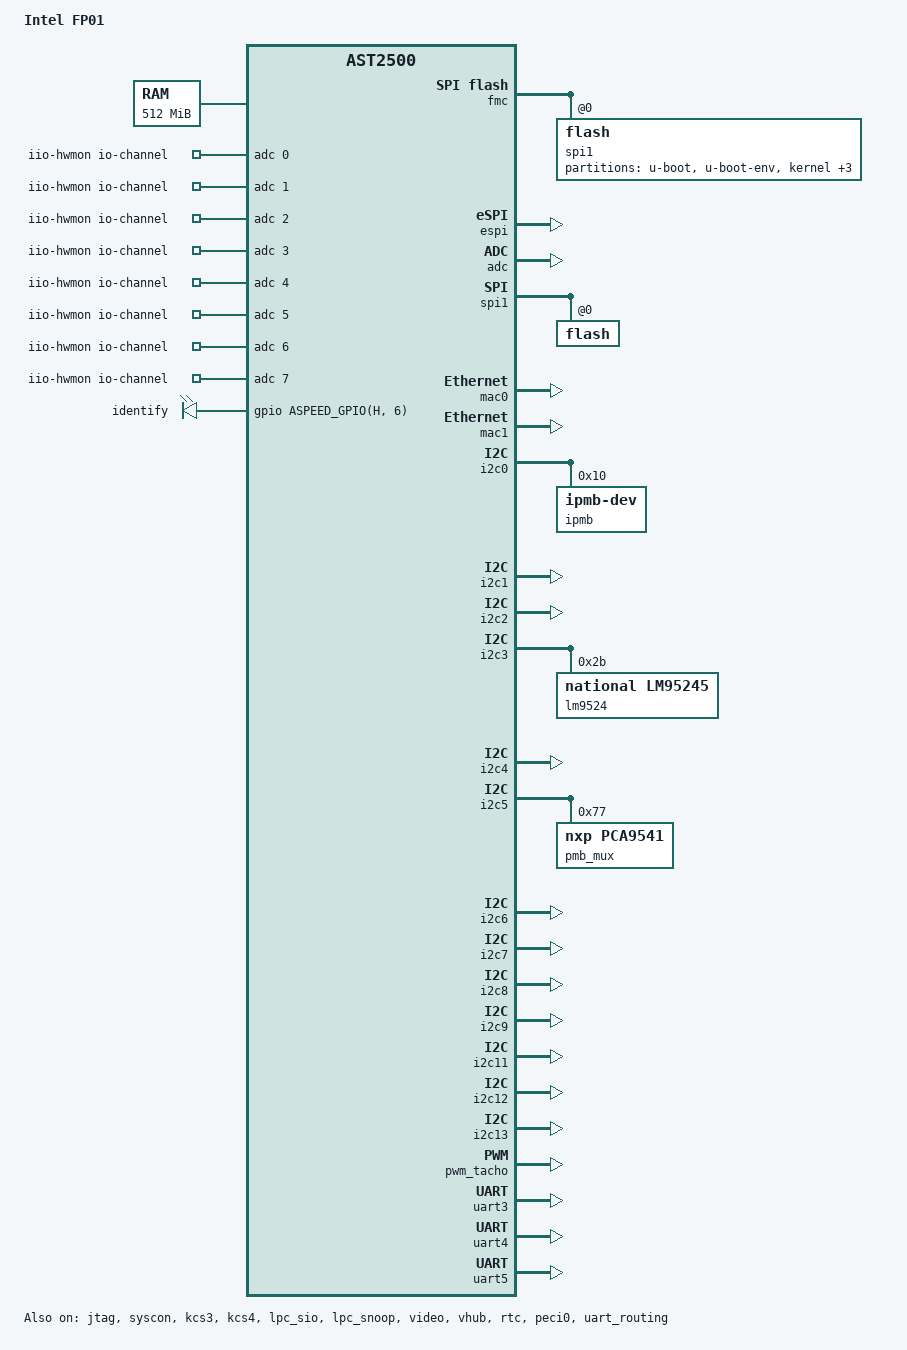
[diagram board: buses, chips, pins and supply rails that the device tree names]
/dts-v1/;

#include "aspeed-g5.dtsi"
#include <dt-bindings/gpio/aspeed-gpio.h>
#include <dt-bindings/i2c/i2c.h>

/ {
	model = "Intel FP01";
	compatible = "intel,whitly-bmc", "aspeed,ast2500";

	aliases {
		serial4 = &uart5;

//		i2c16 = &i2c_nvme0;
//		i2c17 = &i2c_nvme1;
//		i2c18 = &i2c_nvme2;
//		i2c19 = &i2c_nvme3;
//		i2c20 = &i2c_nvme4;
//		i2c21 = &i2c_nvme5;
//		i2c22 = &i2c_12v;
//		i2c23 = &i2c_48v;
//
//		i2c28 = &i2c_m2_0;
//		i2c29 = &i2c_m2_1;
//
//		i2c14 = &i2c_ina219;   //0x40
//		i2c30 = &i2c_gen_z_right;
//		i2c31 = &i2c_gen_z_left;
//		i2c31 = &i2c_cpld;
//
//		i2c41 = &i2c_sas1;
//		i2c42 = &i2c_sas2;
//		i2c43 = &i2c_sas3;
//		i2c44 = &i2c_sas4;
//
//		i2c50 = &i2c_m2_lm5066;
//		i2c51 = &i2c_channel5;
//		i2c52 = &i2c_channel6;
//		i2c53 = &i2c_channel7;
//		i2c60 = &i2c_sw73_ch0;
//		i2c54 = &i2c_sw73_ch1;
//		i2c55 = &i2c_sw73_ch2;
//		i2c56 = &i2c_sw73_ch3;
//		i2c57 = &i2c_sw_ch0_gpu0;
//		i2c58 = &i2c_sw_ch1_gpu1;
//		i2c59 = &i2c_sw_ch2_gpu2;
//
//		i2c61 = &i2c_sw70_ch1;
//		i2c62 = &i2c_sw70_ch2;
//		i2c63 = &i2c_sw70_ch3;
    };
	chosen {
		stdout-path = &uart5;
		bootargs = "console=ttyS4,115200n8 root=/dev/ram rw earlyrintk";
	};

	memory@80000000 {
		reg = <0x80000000 0x20000000>;
	};

	reserved-memory {
		#address-cells = <1>;
		#size-cells = <1>;
		ranges;

		vga_memory: framebuffer@7f000000 {
			no-map;
			reg = <0x7f000000 0x01000000>;
		};

		video_engine_memory: jpegbuffer {
			size = <0x02000000>;
			alignment = <0x01000000>;
			compatible = "shared-dma-pool";
			reusable;
		};
		ramoops@9eff0000{
			compatible = "ramoops";
			reg = <0x9eff0000 0x10000>;
			record-size = <0x2000>;
			console-size = <0x2000>;
		};
	};

	vga-shared-memory {
		compatible = "aspeed,ast2500-vga-sharedmem";
		reg = <0x9ff00000 0x100000>;
	};

	iio-hwmon {
			compatible = "iio-hwmon";
			io-channels = <&adc 0>, <&adc 1>, <&adc 2>, <&adc 3>,
				<&adc 4>, <&adc 5>, <&adc 6>, <&adc 7>,
				<&adc 8>, <&adc 9>, <&adc 10>, <&adc 11>,
				<&adc 12>, <&adc 13>, <&adc 14>, <&adc 15>;
	};

	leds {
		compatible = "gpio-leds";

		//heartbeat {
		//	label = "heartbeat";
		//	gpios = <&gpio ASPEED_GPIO(G, 0) GPIO_ACTIVE_HIGH>;
		//	linux,default-trigger = "timer";
		//	active-delay = <100>;
		//	inactive-delay = <100>;
		//};

		identify {
			default-state = "on";
			gpios = <&gpio ASPEED_GPIO(H, 6) GPIO_ACTIVE_HIGH>;
		};

		//status_amber {
		//	default-state = "off";
		//	gpios = <&gpio ASPEED_GPIO(G, 3) GPIO_ACTIVE_HIGH>;
		//};

		//status_green {
		//	default-state = "keep";
		//	gpios = <&gpio ASPEED_GPIO(G, 2) GPIO_ACTIVE_HIGH>;
		//};
	};
};

&fmc {
	status = "okay";
	flash@0 {
		status = "okay";
		m25p,fast-read;
		label = "spi1";
		partitions {
			compatible = "fixed-partitions";
			#address-cells = <1>;
			#size-cells = <1>;

			u-boot@0 {
				reg = <0x0 0x60000>; // 384KB
				label = "u-boot";
			};

			u-boot-env@60000 {
				reg = <0x60000 0x20000>; // 128KB
				label = "u-boot-env";
			};

			kernel@80000 {
				reg = <0x80000 0x440000>; // 4352KB
				label = "kernel";
			};

			rofs@4c0000 {
				reg = <0x4c0000 0x2000000>; // 32MB
				label = "rofs";
			};

			rwfs@24c0000 {
				reg = <0x24c0000 0x1400000>; // 20MB
				label = "rwfs";
			};

			persistent@38C0000 {
				reg = <0x38C0000 0x640000>; // 6.4MB must end at 0x3f00000
				label = "persistent";
			};
		};
	};
};

/*&fmc {
	status = "okay";
	flash@0 {
		status = "okay";
		m25p,fast-read;
		label = "bmc";
		spi-max-frequency = <50000000>;
#include "openbmc-flash-layout.dtsi"
	};
};*/

&espi {
	status = "okay";
};

&jtag {
	status = "okay";
};

&syscon {
	/* uart-clock-high-speed; */
	status = "okay";
};

&adc {
	status = "okay";
	pinctrl-names = "default";
	pinctrl-0 = <&pinctrl_adc0_default &pinctrl_adc1_default
	 &pinctrl_adc2_default &pinctrl_adc3_default &pinctrl_adc4_default
	 &pinctrl_adc5_default &pinctrl_adc6_default &pinctrl_adc7_default
	 &pinctrl_adc8_default &pinctrl_adc9_default &pinctrl_adc10_default
	 &pinctrl_adc11_default &pinctrl_adc12_default &pinctrl_adc13_default
	 &pinctrl_adc15_default>;
};



//	gpio-line-names =
//	/*A0-A7*/	"A0","A1","FP_SW_1","BMC_READY","A4","A5","A6","A7",
//	/*B0-B7*/	"B0","B1","B2","B3","TCK_MUX_SEL","SMI","B6","POST_COMPLETE",
//	/*C0-C7*/	"BOARD_SKU_ID0","BOARD_SKU_ID1","BOARD_SKU_ID2","BOARD_SKU_ID3","C4","C5","C6","C7",
//	/*D0-D7*/	"POWER_BUTTON","POWER_OUT","RESET_BUTTON","RESET_OUT","NMI_BUTTON","NMI_OUT","D6","D7",
//	/*E0-E7*/	"BMC_RST_I2C_DEV_1","BMC_HOST_SMBUS_SEL_N","E2","E3","CPU1_MEM_THERM_EVENT","CPU2_MEM_THERM_EVENT","E6","E7",
//	/*F0-F7*/	"SIO_POWER_GOOD","DEBUG_EN_N","PWR_DEBUG_N","P3VBAT_BRIDGE_EN","CPU_ERR0","CPU_ERR1","PLTRST_N","PRDY_N",
//	/*G0-G7*/	"G0","G1","G2","G3","G4","FM_CLR_CMOS","G6","G7",
//	/*H0-H7*/	"PS_PWROK","PCH_BMC_THERMTRIP","H2","H3","CPU_CATERR","CPU_ERR2","H6","H7",
//	/*I0-I7*/   "JTAG_TMS", "JTAG_TCK", "JTAG_TDO", "JTAG_TDI", "I4", "I5", "I6", "I7",
//	/*J0-J7*/   "J0", "J1", "J2", "J3", "J4", "J5", "J6", "J7",
//	/*K0-K7*/   "K0", "K1", "K2", "K3", "K4", "K5", "K6", "K7",
//	/*L0-L7*/   "L0", "L1", "L2", "L3", "L4", "L5", "L6", "L7",
//	/*M0-M7*/	"RSMRST_N","SYSPWROK","M2","M3","M4","BOARD_SKU_ID5","M6","M7", /* Fake signals, NC port */
//	/*N0-N7*/   "N0", "N1", "N2", "N3", "N4", "N5", "N6", "N7",
//	/*O0-O7*/   "O0", "O1", "O2", "O3", "O4", "O5", "O6", "O7",
//	/*P0-P7*/   "P0", "CPU1_THERMTRIP", "P2", "P3", "CPU1_FIVR_FAULT", "CPU1_VRHOT", "CPU1_MEM_ABCD_VRHOT", "CPU1_MEM_EFGH_VRHOT",
//	/*Q0-Q7*/	"Q0","Q1","Q2","Q3","Q4","Q5","ID_BUTTON","Q7",
//	/*R0-R7*/	"R0","R1","R2","BIOS_SEL","R4","BAT_SENSE","R6","R7",
//	/*S0-S7*/   "S0", "BPB_CPLD_PROGRAMMING_N", "S2", "S3", "S4", "S5", "S6", "S7",
//	/*T0-T7*/   "T0", "T1", "T2", "T3", "T4", "T5", "T6", "T7",
//	/*U0-U7*/   "U0", "U1", "U2", "U3", "U4", "U5", "U6", "U7",
//	/*V0-V7*/   "V0", "V1", "V2", "V3", "V4", "V5", "V6", "V7",
//	/*W0-W7*/   "W0", "W1", "W2", "W3", "W4", "W5", "W6", "W7",
//	/*X0-X7*/   "X0", "X1", "X2", "X3", "X4", "X5", "X6", "X7",
//	/*Y0-Y7*/	"SIO_S3","SIO_S5","Y2","SIO_ONCONTROL","Y4","Y5","Y6","Y7",
//	/*Z0-Z7*/   "CPU_ERR0", "CPU_ERR1", "Z2", "Z3", "Z4", "Z5", "Z6", "Z7",
//	/*AA0-AA7*/ "AA0", "CPU2_THERMTRIP", "AA2", "AA3", "CPU2_FIVR_FAULT", "CPU2_VRHOT", "AA6", "AA7",
//	/*AB0-AB7*/ "AB0", "AB1", "AB2", "AB3", "AB4", "AB5", "AB6", "AB7",
//	/*AC0-AC7*/ "AC0", "AC1", "AC2", "AC3", "AC4", "AC5", "AC6", "AC7";



&gpio {
	status = "okay";
	/* Enable GPIOD0 and GPIOD2 pass-through by default */
	pinctrl-names = "pass-through";
	pinctrl-0 = <&pinctrl_gpid0_default
			&pinctrl_gpid2_default>;
	gpio-line-names =
	/*A0-A7*/	 "FM_CPU1_MEMHOT_OUT_N", "FM_CPU2_MEMHOT_OUT_N", "BMC_BUZZER", "IRQ_SML1_PMBUS_ALERT_N", "A4", "A5", "A6", "A7",
	/*B0-B7*/	 "B0", "B1", "B2", "B3", "B4", "B5", "B6", "B7",
	/*C0-C7*/	 "C0", "C1", "C2", "C3", "C4", "C5", "C6", "C7",
	/*D0-D7*/	 "POWER_BUTTON", "POWER_OUT", "RESET_BUTTON", "RESET_OUT", "NMI_BUTTON", "NMI_OUT", "PWRGD_SYS_PWROK", "SYS_HEALTH2_N",
	/*E0-E7*/	 "E0", "E1", "FM_CPU2_SKTOCC_LVT3_N", "FM_CPU1_SKTOCC_LVT3_N", "E4", "E5", "E6", "E7",
	/*F0-F7*/	 "FM_PCH_BMC_THERMTRIP_N", "FM_CPU1_PROCHOT_LVC3_N", "FM_CPU1_PROCHOT_LVC3_N", "F3", "F4", "F5", "F6", "F7",
	/*G0-G7*/	 "G0", "G1", "G2", "G3", "G4", "FM_CPU2_THERMTRIP_LVT3_N", "FM_CPU1_THERMTRIP_LVT3_N", "SPEAKER_SSB",
	/*H0-H7*/	 "FM_CPU1_FIVR_FAULT_LVT3", "FM_CPU2_FIVR_FAULT_LVT3", "FM_CPU1_MEMTRIP_N", "FM_CPU2_MEMTRIP_N", "UID_SW_IN_N", "H5", "UIDLED_OUT_N", "FLASH_OVERRIDE",
	/*I0-I7*/    "I0", "I1", "I2", "I3", "I4", "I5", "I6", "I7",
	/*J0-J7*/    "J0", "J1", "J2", "FM_THERMTRIP_BMC_N", "J4", "J5", "J6", "J7",
	/*K0-K7*/    "K0", "K1", "K2", "K3", "K4", "K5", "K6", "K7",
	/*L0-L7*/    "L0", "L1", "L2", "L3", "L4", "L5", "L6", "L7",
	/*M0-M7*/	 "M0", "M1", "M2", "M3", "M4", "M5", "M6", "M7",
	/*N0-N7*/    "N0", "N1", "N2", "N3", "N4", "N5", "N6", "N7",
	/*O0-O7*/    "O0", "O1", "O2", "O3", "O4", "O5", "O6", "O7",
	/*P0-P7*/    "P0", "P1", "P2", "P3", "P4", "PCH_NMI_N", "BMC_NMI_OUT", "BMC_NMI_IN",
	/*Q0-Q7*/	 "Q0", "Q1", "Q2", "Q3", "Q4", "Q5", "SYS_HEALTH_N", "Q7",
	/*R0-R7*/	 "R0", "R1", "R2", "R3", "R4", "R5", "R6", "R7",
	/*S0-S7*/    "S0", "S1", "S2", "S3", "S4", "S5", "S6", "S7",
	/*T0-T7*/    "T0", "T1", "T2", "T3", "T4", "T5", "T6", "T7",
	/*U0-U7*/    "U0", "U1", "U2", "U3", "U4", "U5", "U6", "U7",
	/*V0-V7*/    "V0", "V1", "V2", "V3", "V4", "V5", "V6", "V7",
	/*W0-W7*/    "W0", "W1", "W2", "W3", "W4", "W5", "W6", "W7",
	/*X0-X7*/    "X0", "X1", "X2", "X3", "X4", "X5", "X6", "X7",
	/*Y0-Y7*/	 "SIO_S3", "SIO_S5", "Y2", "SIO_ONCONTROL", "Y4", "Y5", "Y6", "Y7",
	/*Z0-Z7*/    "FM_CPU_MSMI_LVT3_N", "Z1", "Z2", "FM_CPU_CATERR_LVT3_N", "Z4", "Z5", "Z6", "Z7",
	/*AA0-AA7*/  "BOARD_ID2", "BOARD_ID1", "BOARD_ID0", "RST_BMC_PERST_B_N", "AA4", "AA5", "AA6", "BMC_ME_RCVR_N",
	/*AB0-AB7*/  "FM_BIOS_POST_CMPLT_N", "AB1", "AB2", "AB3", "AB4", "AB5", "AB6", "AB7",
	/*AC0-AC7*/  "AC0", "AC1", "AC2", "AC3", "AC4", "AC5", "AC6", "AC7";
};

&sgpio {
	status = "disabled";
	ngpios = <80>;
	gpio-line-names =
	/* SGPIO output lines */
	/*OA0-OA7*/ "OA0","OA1","OA2","OA3","OA4","OA5","OA6","OA7",
	/*OB0-OB7*/ "OB0","OB1","OB2","OB3","OB4","OB5","OB6","OB7",
	/*OC0-OC7*/ "OC0","OC1","OC2","OC3","OC4","OC5","OC6","OC7",
	/*OD0-OD7*/ "OD0","OD1","OD2","OD3","OD4","OD5","OD6","OD7",
	/*OE0-OE7*/ "OE0","OE1","OE2","OE3","OE4","OE5","OE6","OE7",
	/*OF0-OF7*/ "OF0","OF1","OF2","OF3","OF4","OF5","OF6","OF7",
	/*OG0-OG7*/ "OG0","OG1","OG2","OG3","OG4","OG5","OG6","OG7",
	/*OH0-OH7*/ "OH0","OH1","OH2","OH3","OH4","OH5","OH6","OH7",
	/*OI0-OI7*/ "OI0","OI1","OI2","OI3","OI4","OI5","OI6","OI7",
	/*OJ0-OJ7*/ "SGPMCK","SGPMLD","SGPMO","SGPMI","OJ4","OJ5","OJ6","OJ7",
	/*DUMMY*/   "","","","","","","","",
	/*DUMMY*/   "","","","","","","","",

	/* SGPIO input lines */
	/*IA0-IA7*/ "IA0","IA1","IA2","IA3","IA4","IA5","IA6","IA7",
	/*IB0-IB7*/ "IB0","IB1","IB2","IB3","IB4","IB5","IB6","IB7",
	/*IC0-IC7*/ "IC0","IC1","IC2","IC3","IC4","IC5","IC6","IC7",
	/*ID0-ID7*/ "ID0","ID1","ID2","ID3","ID4","ID5","ID6","ID7",
	/*IE0-IE7*/ "IE0","IE1","IE2","IE3","IE4","IE5","IE6","IE7",
	/*IF0-IF7*/ "IF0","IF1","IF2","IF3","IF4","IF5","IF6","IF7",
	/*IG0-IG7*/ "IG0","IG1","IG2","IG3","IG4","IG5","IG6","IG7",
	/*IH0-IH7*/ "IH0","IH1","IH2","IH3","IH4","IH5","IH6","IH7",
	/*II0-II7*/ "II0","II1","II2","II3","II4","II5","II6","II7",
	/*IJ0-IJ7*/ "IJ0","IJ1","IJ2","IJ3","IJ4","IJ5","IJ6","IJ7";
};

&kcs3 {
	kcs_addr = <0xCA2>;
	aspeed,lpc-io-reg = <0xca2>;
	status = "okay";
};

&kcs4 {
	kcs_addr = <0xCA4>;
	aspeed,lpc-io-reg = <0xca4>;
	status = "okay";
};

&lpc_sio {
	status = "okay";
};


&lpc_snoop {
	snoop-ports = <0x80>;
	status = "okay";
};

&mbox {
	status = "okay";
};

/**
 * BIOS flash connected via MUX controlled by GPIO R.3 (BIOS_SEL_N)
*/
&spi1 {
	status = "okay";
	pinctrl-names = "default";
	pinctrl-0 = <&pinctrl_spi1_default>;

	flash@0 {
		m25p,fast-read;
		status = "okay";
	};
};

&mac0 {
	status = "okay";

	pinctrl-names = "default";
	pinctrl-0 = <&pinctrl_rgmii1_default &pinctrl_mdio1_default>;
};

&mac1 {
	status = "okay";

	pinctrl-names = "default";
	pinctrl-0 = <&pinctrl_rgmii2_default &pinctrl_mdio2_default>;
};

&i2c0 {
	status = "okay";

	bus-frequency = <100000>;
	aspeed,dma-buf-size = <4095>;
	aspeed,hw-timeout-ms = <300>;
	multi-master;
	status = "okay";
	ipmb@10 {
		compatible = "ipmb-dev";
		reg = <0x10>;
		i2c-protocol;
	};
};

&i2c1 {
	status = "okay";
};

&i2c2 {
	status = "okay";

//	eeprom@50 {
//		compatible = "atmel,24c128";
//		reg = <0x50>;
//		pagesize = <16>;
//	};
};

&i2c3 {
	status = "okay";

	lm9524@2b {
		compatible = "national,lm95245";
		reg = <0x2b>;
	};
};

&i2c4 {
	status = "okay";
};

&i2c5 {
	status = "okay";
	bus-frequency = <200000>;

	pmb_mux@77 {
		compatible = "nxp,pca9541";
		reg = <0x77>;

		i2carb3: i2c-arb {
			#address-cells = <1>;
			#size-cells = <0>;
		};
	};
};

&i2c6 {
	/* SMB_SMLINK0_STBY_LVC3 */
	status = "okay";
	bus-frequency = <1000000>;
	multi-master;
};

&i2c7 {
	/* Front panel */
	status = "okay";
};

&i2c8 {
	status = "okay";
};

&i2c9 {
	status = "okay";
};

&i2c10 {
	/* It is dangerouse to have a connect with CPU VR's */
	status = "disabled";
};

&i2c11 {
	/* PLD update SMBUS */
	status = "okay";
};

&i2c12 {
	/* SMB_SMLINK1_STBY_LVC3 */
	status = "okay";
	bus-frequency = <1000000>;
	multi-master;
};

&i2c13 {
	/* CPU 0/1 PIROM */
	status = "okay";
};


&video {
	status = "okay";
	memory-region = <&video_engine_memory>;
};

&vhub {
	status = "okay";
};

&pwm_tacho {
	status = "okay";
	pinctrl-names = "default";
	pinctrl-0 = <&pinctrl_pwm0_default &pinctrl_pwm1_default
                 &pinctrl_pwm2_default &pinctrl_pwm3_default
                 &pinctrl_pwm4_default &pinctrl_pwm5_default
                 &pinctrl_pwm6_default &pinctrl_pwm7_default>;

	fan@0 {
		reg = <0x00>;
		aspeed,fan-tach-ch = /bits/ 8 <0x00>;
	};

	fan@1 {
		reg = <0x01>;
		aspeed,fan-tach-ch = /bits/ 8 <0x01>;
	};

	fan@2 {
		reg = <0x02>;
		aspeed,fan-tach-ch = /bits/ 8 <0x02>;
	};

	fan@3 {
		reg = <0x03>;
		aspeed,fan-tach-ch = /bits/ 8 <0x03>;
	};

	fan@4 {
		reg = <0x04>;
		aspeed,fan-tach-ch = /bits/ 8 <0x04>;
	};

	fan@5 {
		reg = <0x05>;
		aspeed,fan-tach-ch = /bits/ 8 <0x05>;
	};

	fan@6 {
		reg = <0x06>;
		aspeed,fan-tach-ch = /bits/ 8 <0x06>;
	};

	fan@7 {
		reg = <0x07>;
		aspeed,fan-tach-ch = /bits/ 8 <0x07>;
	};
};

&rtc {
	status = "okay";
};

&peci0 {
	status = "okay";
};

/* ttyS0 0x1e783000  Passed to host via SIO -> LPC */
&uart1 {
	status = "disabled";
};

/* ttyS1 0x1e78d000 Passed to host via SIO -> LPC */
&uart2{
	status = "disabled";
	//pinctrl-names = "default";
	//pinctrl-0 = <&pinctrl_txd4_default &pinctrl_rxd4_default>;
	//pinctrl-0 = <>;
};

/* ttyS2 0x1e78e000 */
&uart3{
	status = "okay";
	//pinctrl-names = "default";
	//pinctrl-0 = <&pinctrl_txd4_default &pinctrl_rxd4_default>;
	//pinctrl-0 = <>;
};

/* ttyS3 0x1e78f000 This UART is used to be internally connected to UART1 for SOL function */
&uart4{
	status = "okay";
	pinctrl-names = "default";
	pinctrl-0 = <>;
};

/* ttyS4 0x1e784000 This is console UART */
&uart5 {
	status = "okay";
	pinctrl-names = "default";
	pinctrl-0 = <>;
};

/* ttyS5 0x1e787000 This is host UART sitting on LPC */
&vuart {
	status = "disabled";
};

&uart_routing {
	status = "okay";
};
